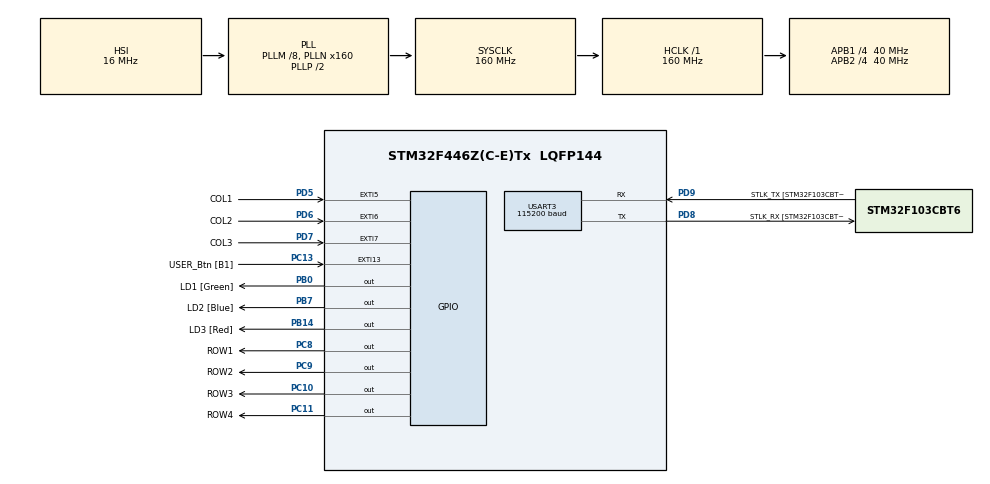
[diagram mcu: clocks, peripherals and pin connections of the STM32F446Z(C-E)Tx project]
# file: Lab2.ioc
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Mcu.Family=STM32F4
Mcu.Name=STM32F446Z(C-E)Tx
Mcu.Package=LQFP144
NVIC.EXTI15_10_IRQn=true\:0\:0\:false\:false\:true\:true\:true\:true
NVIC.EXTI9_5_IRQn=true\:0\:0\:false\:false\:true\:true\:true\:true
NVIC.PriorityGroup=NVIC_PRIORITYGROUP_4
PB0.GPIO_Label=LD1 [Green]
PB0.Signal=GPIO_Output
PB14.GPIO_Label=LD3 [Red]
PB14.Signal=GPIO_Output
PB7.GPIO_Label=LD2 [Blue]
PB7.Signal=GPIO_Output
PC10.GPIO_Label=ROW3
PC10.Signal=GPIO_Output
PC11.GPIO_Label=ROW4
PC11.Signal=GPIO_Output
PC13.GPIO_Label=USER_Btn [B1]
PC13.GPIO_ModeDefaultEXTI=GPIO_MODE_IT_RISING
PC13.Signal=GPXTI13
PC8.GPIO_Label=ROW1
PC8.Signal=GPIO_Output
PC9.GPIO_Label=ROW2
PC9.Signal=GPIO_Output
PD5.GPIO_Label=COL1
PD5.GPIO_PuPd=GPIO_PULLDOWN
PD5.Signal=GPXTI5
PD6.GPIO_Label=COL2
PD6.GPIO_PuPd=GPIO_PULLDOWN
PD6.Signal=GPXTI6
PD7.GPIO_Label=COL3
PD7.GPIO_PuPd=GPIO_PULLDOWN
PD7.Signal=GPXTI7
PD8.GPIO_Label=STLK_RX [STM32F103CBT6_PA3]
PD8.Mode=Asynchronous
PD8.Signal=USART3_TX
PD9.GPIO_Label=STLK_TX [STM32F103CBT6_PA2]
PD9.Mode=Asynchronous
PD9.Signal=USART3_RX
ProjectManager.HeapSize=0x200
ProjectManager.StackSize=0x400
ProjectManager.TargetToolchain=STM32CubeIDE
RCC.48MHZClocksFreq_Value=24000000
RCC.AHBFreq_Value=160000000
RCC.APB1CLKDivider=RCC_HCLK_DIV4
RCC.APB1Freq_Value=40000000
RCC.APB1TimFreq_Value=80000000
RCC.APB2CLKDivider=RCC_HCLK_DIV4
RCC.APB2Freq_Value=40000000
RCC.APB2TimFreq_Value=80000000
RCC.CortexFreq_Value=160000000
RCC.HCLKFreq_Value=160000000
RCC.HSE_VALUE=8000000
RCC.HSI_VALUE=16000000
RCC.PLLM=8
RCC.PLLMUL=RCC_PLL_MUL9
RCC.PLLN=160
RCC.PLLQ=7
RCC.PRESCALERUSB=RCC_USBCLKSOURCE_PLL_DIV1_5
RCC.SYSCLKFreq_VALUE=160000000
RCC.SYSCLKSource=RCC_SYSCLKSOURCE_PLLCLK
RCC.SYSCLKSourceVirtual=RCC_SYSCLKSOURCE_PLLCLK
RCC.USBFreq_Value=45714285.71428572
RCC.VCOOutputFreq_Value=320000000
USART3.BaudRate=115200
USART3.VirtualMode=VM_ASYNC
board=NUCLEO-F446ZE

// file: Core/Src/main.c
/* USER CODE BEGIN Header */
/**
  ******************************************************************************
  * @file           : main.c
  * @brief          : Main program body
  ******************************************************************************
  * @attention
  *
  * Copyright (c) 2026 STMicroelectronics.
  * All rights reserved.
  *
  * This software is licensed under terms that can be found in the LICENSE file
  * in the root directory of this software component.
  * If no LICENSE file comes with this software, it is provided AS-IS.
  *
  ******************************************************************************
  */
/* USER CODE END Header */
#include "main.h"

/* USER CODE BEGIN Includes */
#include <stdio.h>
#include <string.h>
/* USER CODE END Includes */

/* USER CODE BEGIN PTD */
// #define SW_POLL_COL

/* USER CODE END PTD */

/* USER CODE BEGIN PD */

#define ROW_Port GPIOC

/* Row Pins Already Defined in main.h
#define ROW1_Pin GPIO_PIN_8
#define ROW2_Pin GPIO_PIN_9
#define ROW3_Pin GPIO_PIN_10
#define ROW4_Pin GPIO_PIN_11
*/

#define COL_Port GPIOD

/* Column Pins Already Defined in main.h
#define COL1_Pin GPIO_PIN_5
#define COL2_Pin GPIO_PIN_6
#define COL3_Pin GPIO_PIN_7
*/

/* USER CODE END PD */

UART_HandleTypeDef huart3;

void SystemClock_Config(void);
static void MX_GPIO_Init(void);
static void MX_USART3_UART_Init(void);

/* USER CODE BEGIN 0 */
int8_t current_row = -1, current_col = -1;
volatile int8_t active_row = -1;  // ← MOVE IT HERE (global scope)
volatile char pending_key = '\0';  // Add this

void print_msg(char * msg) {
	HAL_UART_Transmit(&huart3, (uint8_t *)msg, strlen(msg), 100);
}

char keypad[4][3] = {   // ← Make sure this is HERE, not inside #ifdef
    {'1','2','3'},
    {'4','5','6'},
    {'7','8','9'},
    {'*','0','#'}
};

/* USER CODE END 0 */

int main(void)
{

  /* MCU Configuration--------------------------------------------------------*/

  /* Reset of all peripherals, Initializes the Flash interface and the Systick. */
  HAL_Init();

  /* Configure the system clock */
  SystemClock_Config();

  /* Initialize all configured peripherals */
  MX_GPIO_Init();
  MX_USART3_UART_Init();
  /* USER CODE BEGIN 2 */
  print_msg("Lab2 Code Starting...\n");
  HAL_GPIO_WritePin(ROW_Port, ROW1_Pin, GPIO_PIN_SET);
  HAL_GPIO_WritePin(ROW_Port, ROW2_Pin, GPIO_PIN_SET);
  HAL_GPIO_WritePin(ROW_Port, ROW3_Pin, GPIO_PIN_SET);
  HAL_GPIO_WritePin(ROW_Port, ROW4_Pin, GPIO_PIN_SET);
  /* USER CODE END 2 */

  /* Infinite loop */
  /* USER CODE BEGIN WHILE */

  while (1)
  {
#ifdef SW_POLL_COL
	// Checking Connectivity
	HAL_GPIO_TogglePin(LD2_GPIO_Port, LD2_Pin);

	GPIO_PinState COL1_State;
	GPIO_PinState COL2_State;
	GPIO_PinState COL3_State;

	// Array of row pins
	uint16_t row_pins[4] = {ROW1_Pin, ROW2_Pin, ROW3_Pin, ROW4_Pin};

	for(int i = 0; i < 4; i++) {
	    // Set all rows LOW first
	    HAL_GPIO_WritePin(ROW_Port, ROW1_Pin | ROW2_Pin | ROW3_Pin | ROW4_Pin, GPIO_PIN_RESET);

	    // Set only current row HIGH
	    HAL_GPIO_WritePin(ROW_Port, row_pins[i], GPIO_PIN_SET);
	    HAL_Delay(10);

	    // Read all columns
	    COL1_State = HAL_GPIO_ReadPin(COL_Port, COL1_Pin);
	    COL2_State = HAL_GPIO_ReadPin(COL_Port, COL2_Pin);
	    COL3_State = HAL_GPIO_ReadPin(COL_Port, COL3_Pin);

	    char key = '\0';  // ← ADD THIS INITIALIZATION!

	    // Check if any column is pressed and do something with it
	    if(COL1_State == GPIO_PIN_SET) {
	        current_row = i;
	        current_col = 0;
	        key = keypad[i][0];
	    }
	    if(COL2_State == GPIO_PIN_SET) {
	        current_row = i;
	        current_col = 1;
	        key = keypad[i][1];
	    }
	    if(COL3_State == GPIO_PIN_SET) {
	        current_row = i;
	        current_col = 2;
	        key = keypad[i][2];
	    }

	    char msg[10];
	    if(key != '\0') {
	        sprintf(msg, "%c\n", key);
	        print_msg(msg);
	    }
	}
#endif

#ifndef SW_POLL_COL
	uint16_t row_pins[4] = {ROW1_Pin, ROW2_Pin, ROW3_Pin, ROW4_Pin};

	    HAL_GPIO_TogglePin(LD2_GPIO_Port, LD2_Pin);

	    // Check if a key was pressed
	    if(pending_key != '\0') {
	        char msg[10];
	        sprintf(msg, "%c\n", pending_key);
	        print_msg(msg);

	        HAL_Delay(200);  // Debounce - wait for key release
	        pending_key = '\0';  // Clear the flag
	    }

	    for(int i = 0; i < 4; i++) {
	    	__disable_irq();  // Disable interrupts during row switching

	        HAL_GPIO_WritePin(ROW_Port, ROW1_Pin | ROW2_Pin | ROW3_Pin | ROW4_Pin, GPIO_PIN_RESET);
	        HAL_GPIO_WritePin(ROW_Port, row_pins[i], GPIO_PIN_SET);
	        active_row = i;
	        __enable_irq();

	        HAL_Delay(10);  // Short delay per row
	    }
#endif

    /* USER CODE END WHILE */

  }
}

void SystemClock_Config(void)
{
  RCC_OscInitTypeDef RCC_OscInitStruct = {0};
  RCC_ClkInitTypeDef RCC_ClkInitStruct = {0};

  /** Configure the main internal regulator output voltage
  */
  __HAL_RCC_PWR_CLK_ENABLE();
  __HAL_PWR_VOLTAGESCALING_CONFIG(PWR_REGULATOR_VOLTAGE_SCALE1);

  /** Initializes the RCC Oscillators according to the specified parameters
  * in the RCC_OscInitTypeDef structure.
  */
  RCC_OscInitStruct.OscillatorType = RCC_OSCILLATORTYPE_HSI;
  RCC_OscInitStruct.HSIState = RCC_HSI_ON;
  RCC_OscInitStruct.HSICalibrationValue = RCC_HSICALIBRATION_DEFAULT;
  RCC_OscInitStruct.PLL.PLLState = RCC_PLL_ON;
  RCC_OscInitStruct.PLL.PLLSource = RCC_PLLSOURCE_HSI;
  RCC_OscInitStruct.PLL.PLLM = 8;
  RCC_OscInitStruct.PLL.PLLN = 160;
  RCC_OscInitStruct.PLL.PLLP = RCC_PLLP_DIV2;
  RCC_OscInitStruct.PLL.PLLQ = 7;
  RCC_OscInitStruct.PLL.PLLR = 2;
  if (HAL_RCC_OscConfig(&RCC_OscInitStruct) != HAL_OK)
  {
    Error_Handler();
  }

  /** Initializes the CPU, AHB and APB buses clocks
  */
  RCC_ClkInitStruct.ClockType = RCC_CLOCKTYPE_HCLK|RCC_CLOCKTYPE_SYSCLK
                              |RCC_CLOCKTYPE_PCLK1|RCC_CLOCKTYPE_PCLK2;
  RCC_ClkInitStruct.SYSCLKSource = RCC_SYSCLKSOURCE_PLLCLK;
  RCC_ClkInitStruct.AHBCLKDivider = RCC_SYSCLK_DIV1;
  RCC_ClkInitStruct.APB1CLKDivider = RCC_HCLK_DIV4;
  RCC_ClkInitStruct.APB2CLKDivider = RCC_HCLK_DIV4;

  if (HAL_RCC_ClockConfig(&RCC_ClkInitStruct, FLASH_LATENCY_5) != HAL_OK)
  {
    Error_Handler();
  }
}

static void MX_USART3_UART_Init(void)
{

  huart3.Instance = USART3;
  huart3.Init.BaudRate = 115200;
  huart3.Init.WordLength = UART_WORDLENGTH_8B;
  huart3.Init.StopBits = UART_STOPBITS_1;
  huart3.Init.Parity = UART_PARITY_NONE;
  huart3.Init.Mode = UART_MODE_TX_RX;
  huart3.Init.HwFlowCtl = UART_HWCONTROL_NONE;
  huart3.Init.OverSampling = UART_OVERSAMPLING_16;
  if (HAL_UART_Init(&huart3) != HAL_OK)
  {
    Error_Handler();
  }

}

static void MX_GPIO_Init(void)
{
  GPIO_InitTypeDef GPIO_InitStruct = {0};

  /* GPIO Ports Clock Enable */
  __HAL_RCC_GPIOC_CLK_ENABLE();
  __HAL_RCC_GPIOB_CLK_ENABLE();
  __HAL_RCC_GPIOD_CLK_ENABLE();

  /*Configure GPIO pin Output Level */
  HAL_GPIO_WritePin(GPIOB, LD1_Pin|LD3_Pin|LD2_Pin, GPIO_PIN_RESET);

  /*Configure GPIO pin Output Level */
  HAL_GPIO_WritePin(GPIOC, ROW1_Pin|ROW2_Pin|ROW3_Pin|ROW4_Pin, GPIO_PIN_RESET);

  /*Configure GPIO pin : USER_Btn_Pin */
  GPIO_InitStruct.Pin = USER_Btn_Pin;
  GPIO_InitStruct.Mode = GPIO_MODE_IT_RISING;
  GPIO_InitStruct.Pull = GPIO_NOPULL;
  HAL_GPIO_Init(USER_Btn_GPIO_Port, &GPIO_InitStruct);

  /*Configure GPIO pins : LD1_Pin LD3_Pin LD2_Pin */
  GPIO_InitStruct.Pin = LD1_Pin|LD3_Pin|LD2_Pin;
  GPIO_InitStruct.Mode = GPIO_MODE_OUTPUT_PP;
  GPIO_InitStruct.Pull = GPIO_NOPULL;
  GPIO_InitStruct.Speed = GPIO_SPEED_FREQ_LOW;
  HAL_GPIO_Init(GPIOB, &GPIO_InitStruct);

  /*Configure GPIO pins : ROW1_Pin ROW2_Pin ROW3_Pin ROW4_Pin */
  GPIO_InitStruct.Pin = ROW1_Pin|ROW2_Pin|ROW3_Pin|ROW4_Pin;
  GPIO_InitStruct.Mode = GPIO_MODE_OUTPUT_PP;
  GPIO_InitStruct.Pull = GPIO_NOPULL;
  GPIO_InitStruct.Speed = GPIO_SPEED_FREQ_LOW;
  HAL_GPIO_Init(GPIOC, &GPIO_InitStruct);

  /*Configure GPIO pins : COL1_Pin COL2_Pin COL3_Pin */
  GPIO_InitStruct.Pin = COL1_Pin|COL2_Pin|COL3_Pin;
  GPIO_InitStruct.Mode = GPIO_MODE_IT_RISING;
  GPIO_InitStruct.Pull = GPIO_PULLDOWN;
  HAL_GPIO_Init(GPIOD, &GPIO_InitStruct);

  /* EXTI interrupt init*/
  HAL_NVIC_SetPriority(EXTI9_5_IRQn, 0, 0);
  HAL_NVIC_EnableIRQ(EXTI9_5_IRQn);

  HAL_NVIC_SetPriority(EXTI15_10_IRQn, 0, 0);
  HAL_NVIC_EnableIRQ(EXTI15_10_IRQn);

}

void Error_Handler(void)
{
  __disable_irq();
  while (1)
  {
  }
}
